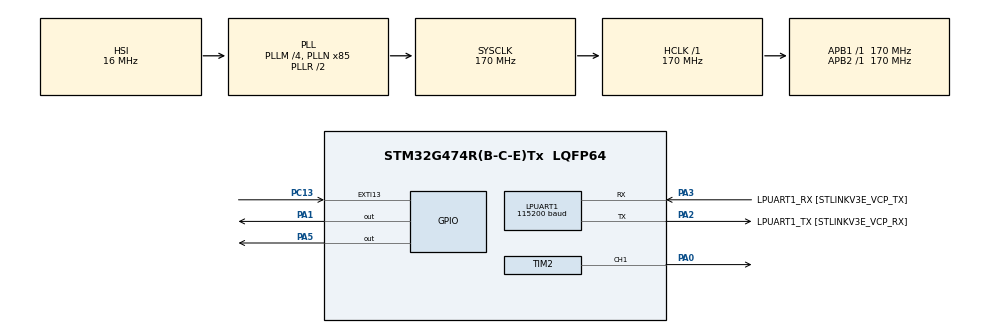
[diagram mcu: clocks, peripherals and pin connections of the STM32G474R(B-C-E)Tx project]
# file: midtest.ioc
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LPUART1.BaudRate=115200
Mcu.Family=STM32G4
Mcu.Name=STM32G474R(B-C-E)Tx
Mcu.Package=LQFP64
NVIC.EXTI15_10_IRQn=true\:0\:0\:false\:false\:true\:true\:true\:true
NVIC.PriorityGroup=NVIC_PRIORITYGROUP_4
PA0.Signal=S_TIM2_CH1
PA1.Signal=GPIO_Output
PA13.GPIO_Label=T_SWDIO
PA13.Signal=SYS_JTMS-SWDIO
PA14.GPIO_Label=T_SWCLK
PA14.Signal=SYS_JTCK-SWCLK
PA2.GPIO_Label=LPUART1_TX [STLINKV3E_VCP_RX]
PA2.Mode=Asynchronous
PA2.Signal=LPUART1_TX
PA3.GPIO_Label=LPUART1_RX [STLINKV3E_VCP_TX]
PA3.Mode=Asynchronous
PA3.Signal=LPUART1_RX
PA5.Signal=GPIO_Output
PB3.GPIO_Label=T_SWO
PB3.Signal=SYS_JTDO-SWO
PC13.GPIO_ModeDefaultEXTI=GPIO_MODE_IT_FALLING
PC13.GPIO_PuPd=GPIO_PULLUP
PC13.Signal=GPXTI13
PC14-OSC32_IN.GPIO_Label=RCC_OSC32_IN
PC14-OSC32_IN.Signal=RCC_OSC32_IN
PC15-OSC32_OUT.GPIO_Label=RCC_OSC32_OUT
PC15-OSC32_OUT.Signal=RCC_OSC32_OUT
PF0-OSC_IN.GPIO_Label=RCC_OSC_IN
PF0-OSC_IN.Signal=RCC_OSC_IN
PF1-OSC_OUT.GPIO_Label=RCC_OSC_OUT
PF1-OSC_OUT.Signal=RCC_OSC_OUT
ProjectManager.HeapSize=0x200
ProjectManager.StackSize=0x400
ProjectManager.TargetToolchain=STM32CubeIDE
RCC.ADC12Freq_Value=170000000
RCC.ADC345Freq_Value=170000000
RCC.AHBFreq_Value=170000000
RCC.APB1Freq_Value=170000000
RCC.APB1TimFreq_Value=170000000
RCC.APB2Freq_Value=170000000
RCC.APB2TimFreq_Value=170000000
RCC.CortexFreq_Value=170000000
RCC.EXTERNAL_CLOCK_VALUE=12288000
RCC.HCLKFreq_Value=170000000
RCC.HSE_VALUE=24000000
RCC.HSI48_VALUE=48000000
RCC.HSI_VALUE=16000000
RCC.LSE_VALUE=32768
RCC.PLLM=RCC_PLLM_DIV4
RCC.PLLN=85
RCC.RTCClockSelection=RCC_RTCCLKSOURCE_LSE
RCC.SYSCLKFreq_VALUE=170000000
RCC.SYSCLKSource=RCC_SYSCLKSOURCE_PLLCLK
RCC.USBFreq_Value=170000000
RCC.VCOOutputFreq_Value=340000000
SH.S_TIM2_CH1.0=TIM2_CH1,PWM Generation1 CH1
TIM2.Channel-PWM\ Generation1\ CH1=TIM_CHANNEL_1
TIM2.PeriodNoDither=369
TIM2.Prescaler=169
VP_SYS_VS_DBSignals.Mode=DisableDeadBatterySignals
VP_TIM2_VS_ClockSourceINT.Mode=Internal
board=NUCLEO-G474RE

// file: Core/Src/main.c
/* USER CODE BEGIN Header */
/**
  ******************************************************************************
  * @file           : main.c
  * @brief          : 按鈕切換繼電器控制 MP3 播放/停止（輪詢版）
  ******************************************************************************
  */
/* USER CODE END Header */
#include "main.h"

/* USER CODE BEGIN Includes */
#include <string.h>
/* USER CODE END Includes */

/* USER CODE BEGIN PD */
#define RELAY_ON      GPIO_PIN_RESET   // 低電位觸發繼電器：低 = 吸合
#define RELAY_OFF     GPIO_PIN_SET     // 高 = 斷開
#define DEBOUNCE_MS   30               // 按鈕防彈跳時間
#define BEEP_MS       80               // 蜂鳴器響多久
#define BEEP_DUTY     185              // PWM 占空比（Period = 369，約 50%）
/* USER CODE END PD */

UART_HandleTypeDef hlpuart1;

TIM_HandleTypeDef htim2;

/* USER CODE BEGIN PV */
uint8_t music_on = 0;          // 0 = 關，1 = 開
GPIO_PinState btn_idle;        // 開機時讀到的「沒按」電位
GPIO_PinState btn_last;        // 上一次讀到的按鈕電位
uint8_t  beeping = 0;          // 蜂鳴器是否正在響
uint32_t beep_start = 0;       // 蜂鳴器開始響的時間
/* USER CODE END PV */

void SystemClock_Config(void);
static void MX_GPIO_Init(void);
static void MX_TIM2_Init(void);
static void MX_LPUART1_UART_Init(void);
/* USER CODE BEGIN PFP */
static void SetMusic(uint8_t on);
static void Beep(void);
static void UART_Print(const char *s);
/* USER CODE END PFP */

int main(void)
{

  /* MCU Configuration--------------------------------------------------------*/

  /* Reset of all peripherals, Initializes the Flash interface and the Systick. */
  HAL_Init();

  /* Configure the system clock */
  SystemClock_Config();

  /* Initialize all configured peripherals */
  MX_GPIO_Init();
  MX_TIM2_Init();
  MX_LPUART1_UART_Init();
  /* USER CODE BEGIN 2 */

    /* ---- 自己設定腳位（放 USER CODE 內，重新 Generate 不會被洗掉）---- */
    {
      GPIO_InitTypeDef g = {0};

      __HAL_RCC_GPIOA_CLK_ENABLE();
      __HAL_RCC_GPIOC_CLK_ENABLE();

      /* PA8：繼電器，開汲極，先寫高電位（斷開）再切成輸出 */
      HAL_GPIO_WritePin(GPIOA, GPIO_PIN_8, GPIO_PIN_SET);
      g.Pin   = GPIO_PIN_8;
      g.Mode  = GPIO_MODE_OUTPUT_OD;
      g.Pull  = GPIO_NOPULL;
      g.Speed = GPIO_SPEED_FREQ_LOW;
      HAL_GPIO_Init(GPIOA, &g);

      /* PA5：綠燈 LD2 */
      HAL_GPIO_WritePin(GPIOA, GPIO_PIN_5, GPIO_PIN_RESET);
      g.Pin   = GPIO_PIN_5;
      g.Mode  = GPIO_MODE_OUTPUT_PP;
      HAL_GPIO_Init(GPIOA, &g);

      /* PC13：藍色按鈕 B1，普通輸入 */
      g.Pin   = GPIO_PIN_13;
      g.Mode  = GPIO_MODE_INPUT;
      g.Pull  = GPIO_NOPULL;
      HAL_GPIO_Init(GPIOC, &g);
    }
  HAL_TIM_PWM_Start(&htim2, TIM_CHANNEL_1);
  __HAL_TIM_SET_COMPARE(&htim2, TIM_CHANNEL_1, 0);   // 蜂鳴器先靜音

  SetMusic(0);                                       // 開機：繼電器斷開、綠燈滅

  HAL_Delay(50);                                     // 等電位穩定
  btn_idle = HAL_GPIO_ReadPin(GPIOC, GPIO_PIN_13);   // 記住「沒按」時的電位
  btn_last = btn_idle;
  /* USER CODE END 2 */

  /* Infinite loop */
  while (1)
  {

    /* USER CODE BEGIN 3 */
    GPIO_PinState now = HAL_GPIO_ReadPin(GPIOC, GPIO_PIN_13);

    if (now != btn_last)                      // 電位有變化
    {
      HAL_Delay(DEBOUNCE_MS);                 // 等彈跳結束
      now = HAL_GPIO_ReadPin(GPIOC, GPIO_PIN_13);

      if (now != btn_last)                    // 確認真的變了
      {
        btn_last = now;

        if (now != btn_idle)                  // 跟「沒按」不同 = 剛按下
        {
          SetMusic(!music_on);                // 切換開/關
          Beep();
          if (music_on)                        // ← 新增
                      UART_Print("system on\r\n");       // ← 新增
                    else                                 // ← 新增
                      UART_Print("system off\r\n");

        }
      }
    }

    // 蜂鳴器響滿 BEEP_MS 自動關掉
    if (beeping && (HAL_GetTick() - beep_start >= BEEP_MS))
    {
      __HAL_TIM_SET_COMPARE(&htim2, TIM_CHANNEL_1, 0);
      beeping = 0;
    }

    HAL_Delay(5);
  }
  /* USER CODE END 3 */
}

void SystemClock_Config(void)
{
  RCC_OscInitTypeDef RCC_OscInitStruct = {0};
  RCC_ClkInitTypeDef RCC_ClkInitStruct = {0};

  /** Configure the main internal regulator output voltage
  */
  HAL_PWREx_ControlVoltageScaling(PWR_REGULATOR_VOLTAGE_SCALE1_BOOST);

  /** Initializes the RCC Oscillators according to the specified parameters
  * in the RCC_OscInitTypeDef structure.
  */
  RCC_OscInitStruct.OscillatorType = RCC_OSCILLATORTYPE_HSI;
  RCC_OscInitStruct.HSIState = RCC_HSI_ON;
  RCC_OscInitStruct.HSICalibrationValue = RCC_HSICALIBRATION_DEFAULT;
  RCC_OscInitStruct.PLL.PLLState = RCC_PLL_ON;
  RCC_OscInitStruct.PLL.PLLSource = RCC_PLLSOURCE_HSI;
  RCC_OscInitStruct.PLL.PLLM = RCC_PLLM_DIV4;
  RCC_OscInitStruct.PLL.PLLN = 85;
  RCC_OscInitStruct.PLL.PLLP = RCC_PLLP_DIV2;
  RCC_OscInitStruct.PLL.PLLQ = RCC_PLLQ_DIV2;
  RCC_OscInitStruct.PLL.PLLR = RCC_PLLR_DIV2;
  if (HAL_RCC_OscConfig(&RCC_OscInitStruct) != HAL_OK)
  {
    Error_Handler();
  }

  /** Initializes the CPU, AHB and APB buses clocks
  */
  RCC_ClkInitStruct.ClockType = RCC_CLOCKTYPE_HCLK|RCC_CLOCKTYPE_SYSCLK
                              |RCC_CLOCKTYPE_PCLK1|RCC_CLOCKTYPE_PCLK2;
  RCC_ClkInitStruct.SYSCLKSource = RCC_SYSCLKSOURCE_PLLCLK;
  RCC_ClkInitStruct.AHBCLKDivider = RCC_SYSCLK_DIV1;
  RCC_ClkInitStruct.APB1CLKDivider = RCC_HCLK_DIV1;
  RCC_ClkInitStruct.APB2CLKDivider = RCC_HCLK_DIV1;

  if (HAL_RCC_ClockConfig(&RCC_ClkInitStruct, FLASH_LATENCY_4) != HAL_OK)
  {
    Error_Handler();
  }
}

static void MX_LPUART1_UART_Init(void)
{

  hlpuart1.Instance = LPUART1;
  hlpuart1.Init.BaudRate = 115200;
  hlpuart1.Init.WordLength = UART_WORDLENGTH_8B;
  hlpuart1.Init.StopBits = UART_STOPBITS_1;
  hlpuart1.Init.Parity = UART_PARITY_NONE;
  hlpuart1.Init.Mode = UART_MODE_TX_RX;
  hlpuart1.Init.HwFlowCtl = UART_HWCONTROL_NONE;
  hlpuart1.Init.OneBitSampling = UART_ONE_BIT_SAMPLE_DISABLE;
  hlpuart1.Init.ClockPrescaler = UART_PRESCALER_DIV1;
  hlpuart1.AdvancedInit.AdvFeatureInit = UART_ADVFEATURE_NO_INIT;
  if (HAL_UART_Init(&hlpuart1) != HAL_OK)
  {
    Error_Handler();
  }
  if (HAL_UARTEx_SetTxFifoThreshold(&hlpuart1, UART_TXFIFO_THRESHOLD_1_8) != HAL_OK)
  {
    Error_Handler();
  }
  if (HAL_UARTEx_SetRxFifoThreshold(&hlpuart1, UART_RXFIFO_THRESHOLD_1_8) != HAL_OK)
  {
    Error_Handler();
  }
  if (HAL_UARTEx_DisableFifoMode(&hlpuart1) != HAL_OK)
  {
    Error_Handler();
  }

}

static void MX_TIM2_Init(void)
{

  TIM_ClockConfigTypeDef sClockSourceConfig = {0};
  TIM_MasterConfigTypeDef sMasterConfig = {0};
  TIM_OC_InitTypeDef sConfigOC = {0};

  htim2.Instance = TIM2;
  htim2.Init.Prescaler = 169;
  htim2.Init.CounterMode = TIM_COUNTERMODE_UP;
  htim2.Init.Period = 369;
  htim2.Init.ClockDivision = TIM_CLOCKDIVISION_DIV1;
  htim2.Init.AutoReloadPreload = TIM_AUTORELOAD_PRELOAD_DISABLE;
  if (HAL_TIM_Base_Init(&htim2) != HAL_OK)
  {
    Error_Handler();
  }
  sClockSourceConfig.ClockSource = TIM_CLOCKSOURCE_INTERNAL;
  if (HAL_TIM_ConfigClockSource(&htim2, &sClockSourceConfig) != HAL_OK)
  {
    Error_Handler();
  }
  if (HAL_TIM_PWM_Init(&htim2) != HAL_OK)
  {
    Error_Handler();
  }
  sMasterConfig.MasterOutputTrigger = TIM_TRGO_RESET;
  sMasterConfig.MasterSlaveMode = TIM_MASTERSLAVEMODE_DISABLE;
  if (HAL_TIMEx_MasterConfigSynchronization(&htim2, &sMasterConfig) != HAL_OK)
  {
    Error_Handler();
  }
  sConfigOC.OCMode = TIM_OCMODE_PWM1;
  sConfigOC.Pulse = 0;
  sConfigOC.OCPolarity = TIM_OCPOLARITY_HIGH;
  sConfigOC.OCFastMode = TIM_OCFAST_DISABLE;
  if (HAL_TIM_PWM_ConfigChannel(&htim2, &sConfigOC, TIM_CHANNEL_1) != HAL_OK)
  {
    Error_Handler();
  }
  HAL_TIM_MspPostInit(&htim2);

}

static void MX_GPIO_Init(void)
{
  GPIO_InitTypeDef GPIO_InitStruct = {0};

  /* GPIO Ports Clock Enable */
  __HAL_RCC_GPIOC_CLK_ENABLE();
  __HAL_RCC_GPIOF_CLK_ENABLE();
  __HAL_RCC_GPIOA_CLK_ENABLE();
  __HAL_RCC_GPIOB_CLK_ENABLE();

  /*Configure GPIO pin Output Level */
  HAL_GPIO_WritePin(GPIOA, GPIO_PIN_1|GPIO_PIN_5, GPIO_PIN_RESET);

  /*Configure GPIO pin : PC13 */
  GPIO_InitStruct.Pin = GPIO_PIN_13;
  GPIO_InitStruct.Mode = GPIO_MODE_IT_FALLING;
  GPIO_InitStruct.Pull = GPIO_PULLUP;
  HAL_GPIO_Init(GPIOC, &GPIO_InitStruct);

  /*Configure GPIO pins : PA1 PA5 */
  GPIO_InitStruct.Pin = GPIO_PIN_1|GPIO_PIN_5;
  GPIO_InitStruct.Mode = GPIO_MODE_OUTPUT_PP;
  GPIO_InitStruct.Pull = GPIO_NOPULL;
  GPIO_InitStruct.Speed = GPIO_SPEED_FREQ_LOW;
  HAL_GPIO_Init(GPIOA, &GPIO_InitStruct);

  /* EXTI interrupt init*/
  HAL_NVIC_SetPriority(EXTI15_10_IRQn, 0, 0);
  HAL_NVIC_EnableIRQ(EXTI15_10_IRQn);

}

/* USER CODE BEGIN 4 */
/* 開/關音樂：繼電器 + 綠燈一起切換 */
static void SetMusic(uint8_t on)
{
  music_on = on;
  HAL_GPIO_WritePin(GPIOA, GPIO_PIN_8, on ? RELAY_ON : RELAY_OFF);
  HAL_GPIO_WritePin(GPIOA, GPIO_PIN_5, on ? GPIO_PIN_SET : GPIO_PIN_RESET);
}

/* 蜂鳴器嗶一聲（不卡住程式，主迴路負責到時間關掉） */
static void Beep(void)
{
  __HAL_TIM_SET_COMPARE(&htim2, TIM_CHANNEL_1, BEEP_DUTY);
  beep_start = HAL_GetTick();
  beeping = 1;
}

static void UART_Print(const char *s)
{
  HAL_UART_Transmit(&hlpuart1, (uint8_t *)s, strlen(s), HAL_MAX_DELAY);
}

/* USER CODE END 4 */

void Error_Handler(void)
{
  __disable_irq();
  while (1)
  {
  }
}
